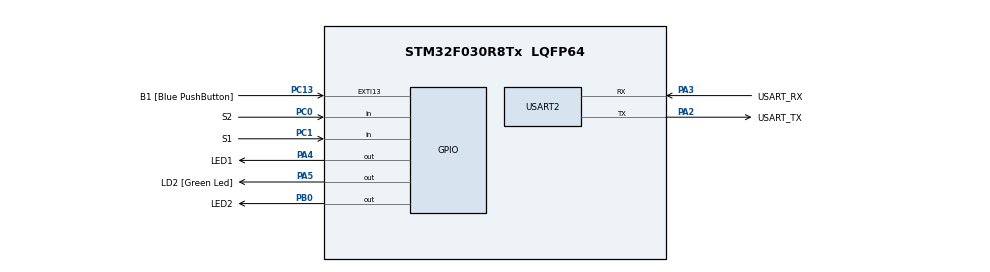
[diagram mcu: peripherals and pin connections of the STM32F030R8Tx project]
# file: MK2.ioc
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Mcu.Family=STM32F0
Mcu.Name=STM32F030R8Tx
Mcu.Package=LQFP64
PA13.GPIO_Label=TMS
PA13.Mode=Serial_Wire
PA13.Signal=SYS_SWDIO
PA14.GPIO_Label=TCK
PA14.Mode=Serial_Wire
PA14.Signal=SYS_SWCLK
PA2.GPIO_Label=USART_TX
PA2.GPIO_Mode=GPIO_MODE_AF_PP
PA2.GPIO_PuPd=GPIO_NOPULL
PA2.GPIO_Speed=GPIO_SPEED_FREQ_LOW
PA2.Mode=Asynchronous
PA2.Signal=USART2_TX
PA3.GPIO_Label=USART_RX
PA3.GPIO_Mode=GPIO_MODE_AF_PP
PA3.GPIO_PuPd=GPIO_NOPULL
PA3.GPIO_Speed=GPIO_SPEED_FREQ_LOW
PA3.Mode=Asynchronous
PA3.Signal=USART2_RX
PA4.GPIO_Label=LED1
PA4.Signal=GPIO_Output
PA5.GPIO_Label=LD2 [Green Led]
PA5.GPIO_Mode=GPIO_MODE_OUTPUT_PP
PA5.GPIO_PuPd=GPIO_NOPULL
PA5.GPIO_Speed=GPIO_SPEED_FREQ_LOW
PA5.Signal=GPIO_Output
PB0.GPIO_Label=LED2
PB0.Signal=GPIO_Output
PC0.GPIO_Label=S2
PC0.GPIO_PuPd=GPIO_PULLUP
PC0.Signal=GPIO_Input
PC1.GPIO_Label=S1
PC1.Signal=GPIO_Input
PC13.GPIO_Label=B1 [Blue PushButton]
PC13.GPIO_ModeDefaultEXTI=GPIO_MODE_IT_FALLING
PC13.Signal=GPXTI13
PC14-OSC32_IN.Mode=LSE-External-Oscillator
PC14-OSC32_IN.Signal=RCC_OSC32_IN
PC15-OSC32_OUT.Mode=LSE-External-Oscillator
PC15-OSC32_OUT.Signal=RCC_OSC32_OUT
PF0-OSC_IN.Mode=HSE-External-Clock-Source
PF0-OSC_IN.Signal=RCC_OSC_IN
PF1-OSC_OUT.Signal=RCC_OSC_OUT
ProjectManager.HeapSize=0x200
ProjectManager.StackSize=0x400
ProjectManager.TargetToolchain=STM32CubeIDE
RCC.AHBFreq_Value=48000000
RCC.APB1Freq_Value=48000000
RCC.APB1TimFreq_Value=48000000
RCC.HCLKFreq_Value=48000000
RCC.PLLMUL=RCC_PLL_MUL12
RCC.SYSCLKFreq_VALUE=48000000
RCC.SYSCLKSource=RCC_SYSCLKSOURCE_PLLCLK
USART2.VirtualMode-Asynchronous=VM_ASYNC
board=NUCLEO-F030R8

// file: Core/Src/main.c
/* USER CODE BEGIN Header */
/**
  ******************************************************************************
  * @file           : main.c
  * @brief          : Main program body
  ******************************************************************************
  * @attention
  *
  * Copyright (c) 2025 STMicroelectronics.
  * All rights reserved.
  *
  * This software is licensed under terms that can be found in the LICENSE file
  * in the root directory of this software component.
  * If no LICENSE file comes with this software, it is provided AS-IS.
  *
  ******************************************************************************
  */
/* USER CODE END Header */
#include "main.h"

/* USER CODE BEGIN PD */
#define LED_TIME_BLINK 300

#define LED_TIME_SHORT 	300
#define LED_TIME_LONG	1000
/* USER CODE END PD */

/* USER CODE BEGIN PV */
volatile uint32_t Tick;
/* USER CODE END PV */

void SystemClock_Config(void);
static void MX_GPIO_Init(void);
static void MX_USART2_UART_Init(void);

/* USER CODE BEGIN 0 */
void blikatko(void) {
	static enum {LED_OFF, LED_ON} stav;
	static uint32_t DelayCnt = 0;

	if (stav == LED_ON) {
		if (Tick > (DelayCnt + 300)) {
			GPIOD->BRR = (1 << 0);
			DelayCnt = Tick;
			stav = LED_OFF;
		}
	} else {
		if (Tick > (DelayCnt + 200)) {
			GPIOD->BSRR = (1 << 0);
			DelayCnt = Tick;
			stav = LED_ON;
		}
	}
}

void blikac(void) {
	static uint32_t delay;

	if (Tick > delay + LED_TIME_BLINK) {
		LL_GPIO_TogglePin(LED1_GPIO_Port, LED1_Pin);
		delay = Tick;
	}
}

void tlacitka(void) {
	static uint32_t old_s1;
	static uint32_t old_s2;

	static uint32_t off_time;

	static uint16_t debounce = 0;
	static uint32_t last_tick = 0;

	uint32_t new_s2 = LL_GPIO_IsInputPinSet(S2_GPIO_Port, S2_Pin);
	uint32_t new_s1 = LL_GPIO_IsInputPinSet(S1_GPIO_Port, S1_Pin);

	// falling edge
	static uint32_t last_time = 0;

	if ((Tick - last_time) >= 40) {

		if (old_s2 && !new_s2) {
				off_time = Tick + LED_TIME_SHORT;
				LL_GPIO_SetOutputPin(LED2_GPIO_Port, LED2_Pin);
				last_time = Tick;
		}
	}

    // Debounce S1 každých 5ms
    if ((Tick - last_tick) >= 5) {
        last_tick = Tick;

        debounce = (debounce << 1) | LL_GPIO_IsInputPinSet(S1_GPIO_Port, S1_Pin);

        if (debounce == 0x7FFF) {
            off_time = Tick + LED_TIME_LONG;
            LL_GPIO_SetOutputPin(LED2_GPIO_Port, LED2_Pin);
        }
    }

	old_s1 = new_s1;
	old_s2 = new_s2;

	if (Tick > off_time) {
		LL_GPIO_ResetOutputPin(LED2_GPIO_Port, LED2_Pin);
	}

	if (Tick > off_time) {
		LL_GPIO_ResetOutputPin(LED2_GPIO_Port, LED2_Pin);
	}

}
/* USER CODE END 0 */

int main(void)
{

  /* MCU Configuration--------------------------------------------------------*/

  /* Reset of all peripherals, Initializes the Flash interface and the Systick. */
  LL_APB1_GRP2_EnableClock(LL_APB1_GRP2_PERIPH_SYSCFG);
  LL_APB1_GRP1_EnableClock(LL_APB1_GRP1_PERIPH_PWR);

  /* Configure the system clock */
  SystemClock_Config();

  /* Initialize all configured peripherals */
  MX_GPIO_Init();
  MX_USART2_UART_Init();
  /* USER CODE BEGIN 2 */
  LL_SYSTICK_EnableIT();
  /* USER CODE END 2 */

  /* Infinite loop */
  while (1)
  {
	  tlacitka();
	  blikac();
  }
}

void SystemClock_Config(void)
{
  LL_FLASH_SetLatency(LL_FLASH_LATENCY_1);
  while(LL_FLASH_GetLatency() != LL_FLASH_LATENCY_1)
  {
  }
  LL_RCC_HSI_Enable();

   /* Wait till HSI is ready */
  while(LL_RCC_HSI_IsReady() != 1)
  {

  }
  LL_RCC_HSI_SetCalibTrimming(16);
  LL_RCC_PLL_ConfigDomain_SYS(LL_RCC_PLLSOURCE_HSI_DIV_2, LL_RCC_PLL_MUL_12);
  LL_RCC_PLL_Enable();

   /* Wait till PLL is ready */
  while(LL_RCC_PLL_IsReady() != 1)
  {

  }
  LL_RCC_SetAHBPrescaler(LL_RCC_SYSCLK_DIV_1);
  LL_RCC_SetAPB1Prescaler(LL_RCC_APB1_DIV_1);
  LL_RCC_SetSysClkSource(LL_RCC_SYS_CLKSOURCE_PLL);

   /* Wait till System clock is ready */
  while(LL_RCC_GetSysClkSource() != LL_RCC_SYS_CLKSOURCE_STATUS_PLL)
  {

  }
  LL_Init1msTick(48000000);
  LL_SetSystemCoreClock(48000000);
}

static void MX_USART2_UART_Init(void)
{

  LL_USART_InitTypeDef USART_InitStruct = {0};

  LL_GPIO_InitTypeDef GPIO_InitStruct = {0};

  /* Peripheral clock enable */
  LL_APB1_GRP1_EnableClock(LL_APB1_GRP1_PERIPH_USART2);

  LL_AHB1_GRP1_EnableClock(LL_AHB1_GRP1_PERIPH_GPIOA);
  /**USART2 GPIO Configuration
  PA2   ------> USART2_TX
  PA3   ------> USART2_RX
  */
  GPIO_InitStruct.Pin = USART_TX_Pin;
  GPIO_InitStruct.Mode = LL_GPIO_MODE_ALTERNATE;
  GPIO_InitStruct.Speed = LL_GPIO_SPEED_FREQ_LOW;
  GPIO_InitStruct.OutputType = LL_GPIO_OUTPUT_PUSHPULL;
  GPIO_InitStruct.Pull = LL_GPIO_PULL_NO;
  GPIO_InitStruct.Alternate = LL_GPIO_AF_1;
  LL_GPIO_Init(USART_TX_GPIO_Port, &GPIO_InitStruct);

  GPIO_InitStruct.Pin = USART_RX_Pin;
  GPIO_InitStruct.Mode = LL_GPIO_MODE_ALTERNATE;
  GPIO_InitStruct.Speed = LL_GPIO_SPEED_FREQ_LOW;
  GPIO_InitStruct.OutputType = LL_GPIO_OUTPUT_PUSHPULL;
  GPIO_InitStruct.Pull = LL_GPIO_PULL_NO;
  GPIO_InitStruct.Alternate = LL_GPIO_AF_1;
  LL_GPIO_Init(USART_RX_GPIO_Port, &GPIO_InitStruct);

  USART_InitStruct.BaudRate = 38400;
  USART_InitStruct.DataWidth = LL_USART_DATAWIDTH_8B;
  USART_InitStruct.StopBits = LL_USART_STOPBITS_1;
  USART_InitStruct.Parity = LL_USART_PARITY_NONE;
  USART_InitStruct.TransferDirection = LL_USART_DIRECTION_TX_RX;
  USART_InitStruct.HardwareFlowControl = LL_USART_HWCONTROL_NONE;
  USART_InitStruct.OverSampling = LL_USART_OVERSAMPLING_16;
  LL_USART_Init(USART2, &USART_InitStruct);
  LL_USART_DisableIT_CTS(USART2);
  LL_USART_ConfigAsyncMode(USART2);
  LL_USART_Enable(USART2);

}

static void MX_GPIO_Init(void)
{
  LL_EXTI_InitTypeDef EXTI_InitStruct = {0};
  LL_GPIO_InitTypeDef GPIO_InitStruct = {0};

  /* GPIO Ports Clock Enable */
  LL_AHB1_GRP1_EnableClock(LL_AHB1_GRP1_PERIPH_GPIOC);
  LL_AHB1_GRP1_EnableClock(LL_AHB1_GRP1_PERIPH_GPIOF);
  LL_AHB1_GRP1_EnableClock(LL_AHB1_GRP1_PERIPH_GPIOA);
  LL_AHB1_GRP1_EnableClock(LL_AHB1_GRP1_PERIPH_GPIOB);

  /**/
  LL_GPIO_ResetOutputPin(LED1_GPIO_Port, LED1_Pin);

  /**/
  LL_GPIO_ResetOutputPin(LD2_GPIO_Port, LD2_Pin);

  /**/
  LL_GPIO_ResetOutputPin(LED2_GPIO_Port, LED2_Pin);

  /**/
  LL_SYSCFG_SetEXTISource(LL_SYSCFG_EXTI_PORTC, LL_SYSCFG_EXTI_LINE13);

  /**/
  LL_GPIO_SetPinPull(B1_GPIO_Port, B1_Pin, LL_GPIO_PULL_NO);

  /**/
  LL_GPIO_SetPinMode(B1_GPIO_Port, B1_Pin, LL_GPIO_MODE_INPUT);

  /**/
  EXTI_InitStruct.Line_0_31 = LL_EXTI_LINE_13;
  EXTI_InitStruct.LineCommand = ENABLE;
  EXTI_InitStruct.Mode = LL_EXTI_MODE_IT;
  EXTI_InitStruct.Trigger = LL_EXTI_TRIGGER_FALLING;
  LL_EXTI_Init(&EXTI_InitStruct);

  /**/
  GPIO_InitStruct.Pin = S2_Pin;
  GPIO_InitStruct.Mode = LL_GPIO_MODE_INPUT;
  GPIO_InitStruct.Pull = LL_GPIO_PULL_UP;
  LL_GPIO_Init(S2_GPIO_Port, &GPIO_InitStruct);

  /**/
  GPIO_InitStruct.Pin = S1_Pin;
  GPIO_InitStruct.Mode = LL_GPIO_MODE_INPUT;
  GPIO_InitStruct.Pull = LL_GPIO_PULL_NO;
  LL_GPIO_Init(S1_GPIO_Port, &GPIO_InitStruct);

  /**/
  GPIO_InitStruct.Pin = LED1_Pin;
  GPIO_InitStruct.Mode = LL_GPIO_MODE_OUTPUT;
  GPIO_InitStruct.Speed = LL_GPIO_SPEED_FREQ_LOW;
  GPIO_InitStruct.OutputType = LL_GPIO_OUTPUT_PUSHPULL;
  GPIO_InitStruct.Pull = LL_GPIO_PULL_NO;
  LL_GPIO_Init(LED1_GPIO_Port, &GPIO_InitStruct);

  /**/
  GPIO_InitStruct.Pin = LD2_Pin;
  GPIO_InitStruct.Mode = LL_GPIO_MODE_OUTPUT;
  GPIO_InitStruct.Speed = LL_GPIO_SPEED_FREQ_LOW;
  GPIO_InitStruct.OutputType = LL_GPIO_OUTPUT_PUSHPULL;
  GPIO_InitStruct.Pull = LL_GPIO_PULL_NO;
  LL_GPIO_Init(LD2_GPIO_Port, &GPIO_InitStruct);

  /**/
  GPIO_InitStruct.Pin = LED2_Pin;
  GPIO_InitStruct.Mode = LL_GPIO_MODE_OUTPUT;
  GPIO_InitStruct.Speed = LL_GPIO_SPEED_FREQ_LOW;
  GPIO_InitStruct.OutputType = LL_GPIO_OUTPUT_PUSHPULL;
  GPIO_InitStruct.Pull = LL_GPIO_PULL_NO;
  LL_GPIO_Init(LED2_GPIO_Port, &GPIO_InitStruct);

}

void Error_Handler(void)
{
  __disable_irq();
  while (1)
  {
  }
}
